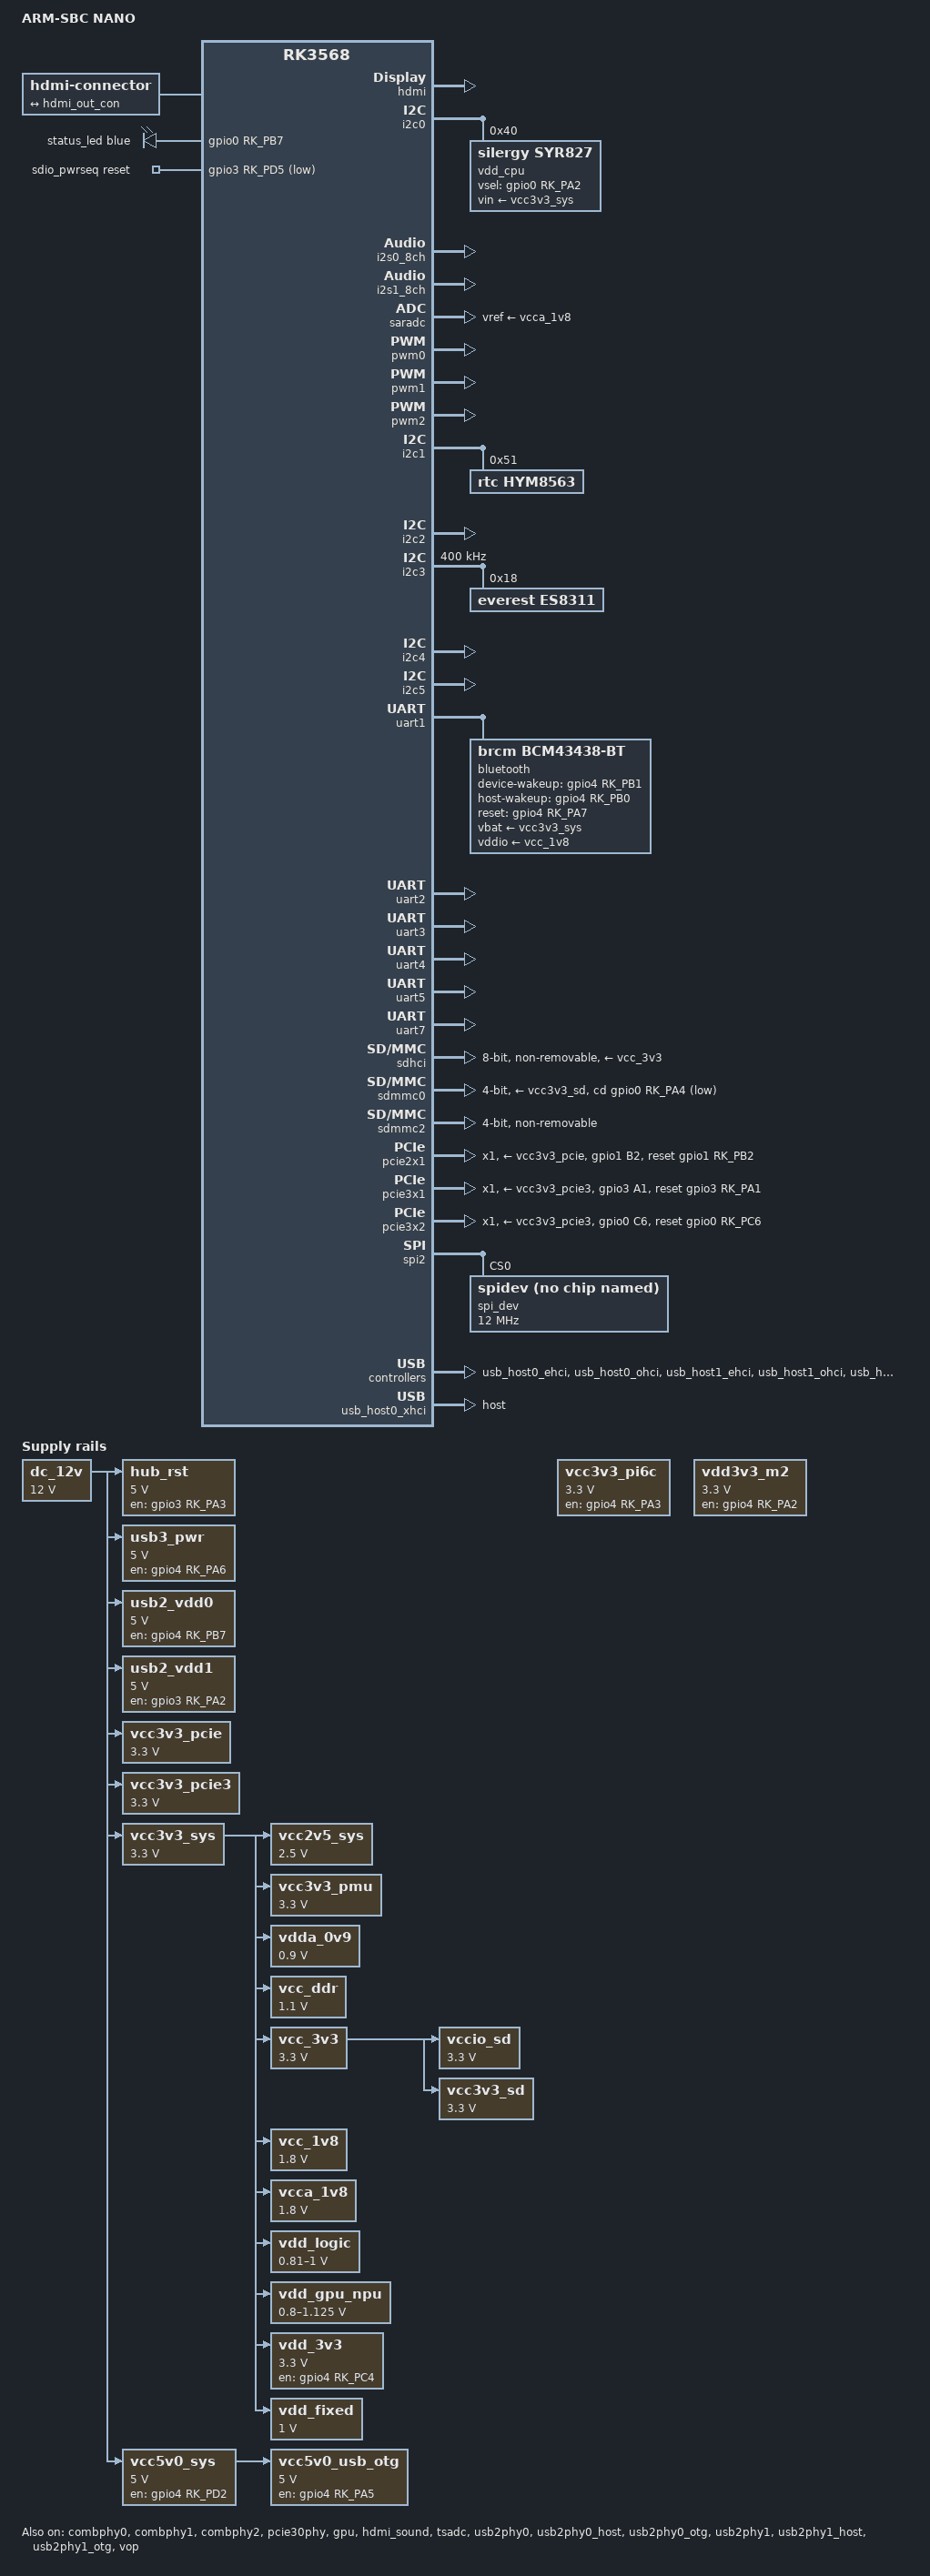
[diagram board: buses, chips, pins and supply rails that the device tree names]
// SPDX-License-Identifier: (GPL-2.0+ OR MIT)
/*
 * Copyright (c) 2024 msubair@hotmail.com
 *
 */

/dts-v1/;
#include <dt-bindings/gpio/gpio.h>
#include <dt-bindings/leds/common.h>
#include <dt-bindings/pinctrl/rockchip.h>
#include <dt-bindings/soc/rockchip,vop2.h>
#include "rk3568.dtsi"

/ {
		model = "ARM-SBC NANO";
		compatible = "rockchip,rk3568-nano", "rockchip,rk3568";

		aliases {
			ethernet0 = &pcie2x1;
			ethernet1 = &pcie3x1;
			mmc0 = &sdhci;
			mmc1 = &sdmmc0;
		};

		chosen {
			stdout-path = "serial2:1500000n8";
		};


		hdmi-con {
			compatible = "hdmi-connector";
			type = "a";

			port {
				hdmi_con_in: endpoint {
					remote-endpoint = <&hdmi_out_con>;
				};
			};
		};
	
		i2s1_sound: i2s1-sound {
		    	status = "okay";
		    	compatible = "simple-audio-card";
		    	simple-audio-card,format = "i2s";
		    	simple-audio-card,mclk-fs = <256>;
		    	simple-audio-card,name = "rockchip,es8311";
		    	simple-audio-card,cpu {
		            	sound-dai = <&i2s1_8ch>;
		    	};
		    	simple-audio-card,codec {
		            	sound-dai = <&es8311>;
		    	};
			};    
	
		gpio-leds {
				compatible = "gpio-leds";
				pinctrl-names = "default";
				pinctrl-0 = <&led_pin>;

				status_led: led-status {
					color = <LED_COLOR_ID_BLUE>;
					function = LED_FUNCTION_STATUS;
					gpios = <&gpio0 RK_PB7 GPIO_ACTIVE_HIGH>;
					linux,default-trigger = "heartbeat";
				};
			};

		dc_12v: dc-12v-regulator {
				compatible = "regulator-fixed";
				regulator-name = "dc_12v";
				regulator-always-on;
				regulator-boot-on;
				regulator-min-microvolt = <12000000>;
				regulator-max-microvolt = <12000000>;
			};
	
		hub_rst: hub-reset { 
				compatible = "regulator-fixed";
				regulator-name = "hub_rst";
				regulator-always-on;
				regulator-boot-on;
				enable-active-high;
				gpio = <&gpio3 RK_PA3 GPIO_ACTIVE_HIGH>;
				pinctrl-0 = <&hub_reset_pin>;
				regulator-min-microvolt = <5000000>;
				regulator-max-microvolt = <5000000>;
				vin-supply = <&dc_12v>;   
		            };

        usb3_pwr: usb3-pwr { 
                compatible = "regulator-fixed";
				regulator-name = "usb3_pwr";
				regulator-always-on;
				regulator-boot-on;
				enable-active-high;
				gpio = <&gpio4 RK_PA6 GPIO_ACTIVE_HIGH>;
				pinctrl-0 = <&usb3_power_en>;
				regulator-min-microvolt = <5000000>;
				regulator-max-microvolt = <5000000>;
				vin-supply = <&dc_12v>; 	    
                };
                
        usb2_vdd0: usb2-pwr {  
                compatible = "regulator-fixed";
				regulator-name = "usb2_vdd0";
				regulator-always-on;
				regulator-boot-on;
				enable-active-high;
				gpio = <&gpio4 RK_PB7 GPIO_ACTIVE_HIGH>;
				pinctrl-0 = <&usb2_vdd0_en>;
				regulator-min-microvolt = <5000000>;
				regulator-max-microvolt = <5000000>;
				vin-supply = <&dc_12v>;     
                };
                
        usb2_vdd1: usb2-vdd1 {       
		    	compatible = "regulator-fixed";
				regulator-name = "usb2_vdd1";
				regulator-always-on;
				regulator-boot-on;
				enable-active-high;
				gpio = <&gpio3 RK_PA2 GPIO_ACTIVE_HIGH>;
				pinctrl-0 = <&usb2_vdd1_en>;
				regulator-min-microvolt = <5000000>;
				regulator-max-microvolt = <5000000>;
				vin-supply = <&dc_12v>; 
		   		};
	
		sdio_pwrseq: sdio-pwrseq {
				status = "okay";
				compatible = "mmc-pwrseq-simple";
				//clocks = <&rk809 1>;
				clock-names = "ext_clock";
				pinctrl-names = "default";
				pinctrl-0 = <&wifi_enable_h>;
				reset-gpios = <&gpio3 RK_PD5 GPIO_ACTIVE_LOW>;
				post-power-on-delay-ms = <100>;
				power-off-delay-us = <5000000>;
			};
	
		vcc2v5_sys: vcc2v5-ddr {
		    	compatible = "regulator-fixed";
		    	regulator-name = "vcc2v5-sys";
		    	regulator-always-on;
		    	regulator-boot-on;
		    	regulator-min-microvolt = <2500000>;
		    	regulator-max-microvolt = <2500000>;
		    	vin-supply = <&vcc3v3_sys>;
			};

		vcc3v3_pcie: vcc3v3-pcie-regulator {
				compatible = "regulator-fixed";
				regulator-name = "vcc3v3_pcie";
				enable-active-high;
				pinctrl-names = "default";
				regulator-min-microvolt = <3300000>;
				regulator-max-microvolt = <3300000>;
				startup-delay-us = <5000>;
				vin-supply = <&dc_12v>;
			};
	
		vcc3v3_pcie3: gpio-regulator-pcie3 {
		    	compatible = "regulator-fixed";
		    	regulator-name = "vcc3v3_pcie3";
		    	regulator-min-microvolt = <3300000>;
		    	regulator-max-microvolt = <3300000>;
		    	enable-active-high;
		    	startup-delay-us = <5000>;
		    	vin-supply = <&dc_12v>;
			};
	
		vcc3v3_pi6c: vcc3v3_pi6c { //pcie3 clk enable for m.2
                compatible = "regulator-fixed";
                regulator-name = "vcc3v3_pi6c";
                regulator-always-on;
                regulator-boot-on;
                regulator-min-microvolt = <3300000>;
                regulator-max-microvolt = <3300000>;
                enable-active-high;
                gpios = <&gpio4 RK_PA3 GPIO_ACTIVE_HIGH>;
                pinctrl-names = "default";
                pinctrl-0 = <&pcie_clk_control>;
        };

    	vdd3v3_m2: vdd3v3_m2 {   //m.2 power enable
                compatible = "regulator-fixed";
                regulator-name = "vdd3v3_m2";
                regulator-always-on;
                regulator-boot-on;
                regulator-min-microvolt = <3300000>;
                regulator-max-microvolt = <3300000>;
                enable-active-high;
                gpios = <&gpio4 RK_PA2 GPIO_ACTIVE_HIGH>;
                pinctrl-names = "default";
                pinctrl-0 = <&vdd_m2_control>;
        };
	
		vcc3v3_sys: vcc3v3-sys-regulator {
				compatible = "regulator-fixed";
				regulator-name = "vcc3v3_sys";
				regulator-always-on;
				regulator-boot-on;
				regulator-min-microvolt = <3300000>;
				regulator-max-microvolt = <3300000>;
				vin-supply = <&dc_12v>;
			};

		vcc5v0_sys: vcc5v0-sys-regulator {
				compatible = "regulator-fixed";
				regulator-name = "vcc5v0_sys";
				regulator-always-on;
				regulator-boot-on;
				enable-active-high;
				gpio = <&gpio4 RK_PD2 GPIO_ACTIVE_HIGH>;
				regulator-min-microvolt = <5000000>;
				regulator-max-microvolt = <5000000>;
				vin-supply = <&dc_12v>;
			};

		vcc5v0_usb_otg: vcc5v0-usb-otg-regulator {
				compatible = "regulator-fixed";
				regulator-name = "vcc5v0_usb_otg";
				enable-active-high;
				gpio = <&gpio4 RK_PA5 GPIO_ACTIVE_HIGH>;
				pinctrl-names = "default";
				pinctrl-0 = <&otg_power_en>;
				regulator-min-microvolt = <5000000>;
				regulator-max-microvolt = <5000000>;
				vin-supply = <&vcc5v0_sys>;
			};
	
		vcc3v3_pmu: vcc3v3-pmu {
		    	compatible = "regulator-fixed";
		    	regulator-name = "vcc3v3_pmu";
		    	regulator-always-on;
		    	regulator-boot-on;
		    	regulator-min-microvolt = <3300000>;
		    	regulator-max-microvolt = <3300000>;
		    	vin-supply = <&vcc3v3_sys>;
		    	regulator-state-mem {
		        	regulator-on-in-suspend;
		    	};
			};

    	vdda_0v9: vdda-0v9 {
		    	compatible = "regulator-fixed";
		    	regulator-name = "vdda_0v9";
		    	regulator-always-on;
		    	regulator-boot-on;
		    	regulator-min-microvolt = <900000>;
		    	regulator-max-microvolt = <900000>;
		    	vin-supply = <&vcc3v3_sys>;
		    	regulator-state-mem {
		        	regulator-off-in-suspend;
		    	};
			};

    	vcc_ddr: vcc-ddr {
		    	compatible = "regulator-fixed";
		    	regulator-name = "vcc_ddr";
		    	regulator-always-on;
		    	regulator-boot-on;
		    	regulator-min-microvolt = <1100000>;
		    	regulator-max-microvolt = <1100000>;
		    	vin-supply = <&vcc3v3_sys>;
		    	regulator-state-mem {
		        	regulator-on-in-suspend;
		    	};
			};

    	vcc_3v3: vcc-3v3 {
		    	compatible = "regulator-fixed";
		    	regulator-name = "vcc_3v3";
		    	regulator-always-on;
		    	regulator-boot-on;
		    	regulator-min-microvolt = <3300000>;
		    	regulator-max-microvolt = <3300000>;
		    	vin-supply = <&vcc3v3_sys>;
		    	regulator-state-mem {
		        	regulator-off-in-suspend;
		    	};
			};

    	vccio_sd: vccio-sd {
		    	compatible = "regulator-fixed";
		    	regulator-name = "vccio_sd";
		    	regulator-always-on;
		    	regulator-boot-on;
		    	regulator-min-microvolt = <3300000>;
		    	regulator-max-microvolt = <3300000>;
		    	vin-supply = <&vcc_3v3>;
		    	regulator-state-mem {
		        	regulator-off-in-suspend;
		    	};
			};

    	vcc3v3_sd: vcc3v3-sd {
		    	compatible = "regulator-fixed";
		    	regulator-name = "vcc3v3_sd";
		    	regulator-always-on;
		    	regulator-boot-on;
		    	regulator-min-microvolt = <3300000>;
		    	regulator-max-microvolt = <3300000>;
		    	vin-supply = <&vcc_3v3>;
		    	regulator-state-mem {
		        	regulator-off-in-suspend;
		    	};
			};

    	vcc_1v8: vcc-1v8 {
		    	compatible = "regulator-fixed";
		    	regulator-name = "vcc_1v8";
		    	regulator-always-on;
		    	regulator-boot-on;
		    	regulator-min-microvolt = <1800000>;
		    	regulator-max-microvolt = <1800000>;
		    	vin-supply = <&vcc3v3_sys>;
		    	regulator-state-mem {
		        	regulator-off-in-suspend;
		    	};
			};

    	vcca_1v8: vcca-1v8 {
		    	compatible = "regulator-fixed";
		    	regulator-name = "vcca_1v8";
		    	regulator-always-on;
		    	regulator-boot-on;
		    	regulator-min-microvolt = <1800000>;
		    	regulator-max-microvolt = <1800000>;
		    	vin-supply = <&vcc3v3_sys>;
		    	regulator-state-mem {
		        	regulator-off-in-suspend;
		    	};
			};

    	vdd_logic: vdd-logic {
		    	compatible = "pwm-regulator";
		    	regulator-always-on;
		    	regulator-boot-on;
		    	rockchip,pwm_id = <1>;
		    	pwms = <&pwm1 0 25000 1>;
		    	regulator-min-microvolt = <810000>;
		    	regulator-max-microvolt = <1000000>;
		    	regulator-init-microvolt = <950000>;
		    	regulator-ramp-delay = <6001>;
		    	regulator-initial-mode = <0x2>;
		    	regulator-name = "vdd_logic";
		    	pwm-supply = <&vcc3v3_sys>;
		    	regulator-state-mem {
		        	regulator-off-in-suspend;
		    	};
			};

    	vdd_gpu_npu: vdd-gpu-npu {
		    	compatible = "pwm-regulator";
		    	rockchip,pwm_id = <2>;
		    	pwms = <&pwm2 0 25000 1>;
		    	regulator-min-microvolt = <800000>;
		    	regulator-max-microvolt = <1125000>;
		    	regulator-init-microvolt = <1000000>;
		    	regulator-always-on;
		    	regulator-boot-on;
		    	regulator-name = "vdd_gpu_npu";
		    	pwm-supply = <&vcc3v3_sys>;
		    	regulator-state-mem {
		        	regulator-off-in-suspend;
		    	};
			};

    	vdd_3v3: vdd-3v3 {
		    	compatible = "regulator-fixed";
		    	regulator-name = "vdd_3v3";
		    	regulator-boot-on;
		    	regulator-always-on;
		    	regulator-min-microvolt = <3300000>;
		    	regulator-max-microvolt = <3300000>;
		        pinctrl-0 = <&vdd3v3_pin>;
		        enable-active-high;
		        pinctrl-names = "default";
				gpio = <&gpio4 RK_PC4 GPIO_ACTIVE_HIGH>;
		    	vin-supply = <&vcc3v3_sys>;
			};
        
    	vdd_fixed: vdd-fixed {
		    	compatible = "regulator-fixed";
		    	regulator-name = "vdd_fixed";
		    	regulator-min-microvolt = <1000000>;
		    	regulator-max-microvolt = <1000000>;
		    	regulator-always-on;
		    	regulator-boot-on;
		    	vin-supply = <&vcc3v3_sys>;
			};
};

&combphy0 {
	/* Used for USB3 */
	//phy-supply = <&vcc5v0_usb_host>;
	status = "okay";
};

&combphy1 {
	/* Used for USB3 */
	status = "okay";
};

&combphy2 {
	/* used for SATA */
	status = "okay";
};

&pcie30phy {
	data-lanes = <1 2>;
	status = "okay";
};

&cpu0 {
	cpu-supply = <&vdd_cpu>;
};

&cpu1 {
	cpu-supply = <&vdd_cpu>;
};

&cpu2 {
	cpu-supply = <&vdd_cpu>;
};

&cpu3 {
	cpu-supply = <&vdd_cpu>;
};

&gpu {
    mali-supply = <&vdd_fixed>;
    status = "okay";
};

&hdmi {
	avdd-0v9-supply = <&vdda_0v9>;
	avdd-1v8-supply = <&vcca_1v8>;
	status = "okay";
};

&hdmi_in {
	hdmi_in_vp0: endpoint {
		remote-endpoint = <&vp0_out_hdmi>;
	};
};

&hdmi_out {
	hdmi_out_con: endpoint {
		remote-endpoint = <&hdmi_con_in>;
	};
};

&hdmi_sound {
	status = "okay";
};

&i2c0 {
    status = "okay";
    
    vdd_cpu: syr837@40 {
                compatible = "silergy,syr827";
                reg = <0x40>;
                vin-supply = <&vcc3v3_sys>;
                regulator-compatible = "fan53555-reg";
				pinctrl-0 = <&vsel1_gpio>;
    			vsel-gpios = <&gpio0 RK_PA2 GPIO_ACTIVE_HIGH>;
                regulator-name = "vdd_cpu";
                regulator-min-microvolt = <712500>;
                regulator-max-microvolt = <1390000>;
                regulator-ramp-delay = <2300>;
                fcs,suspend-voltage-selector = <1>;
                regulator-always-on;
                regulator-boot-on;
                regulator-initial-state = <3>;
                regulator-state-mem {
                        regulator-off-in-suspend;
                };
        }; 
};

&i2s0_8ch {
	status = "okay";
};

&i2s1_8ch {
	rockchip,trcm-sync-tx-only;
	status = "okay";
};

&pinctrl {

	sdio-pwrseq {
			wifi_enable_h: wifi-enable-h {
				rockchip,pins = <3 RK_PD5 RK_FUNC_GPIO &pcfg_pull_none>;
				};
			};
	pcie3_control{
                pcie_clk_control: pcie_clk_control {
                        rockchip,pins = <4 RK_PA3 RK_FUNC_GPIO &pcfg_pull_up>;
                };
                
                vdd_m2_control: vdd_m2_control {
                        rockchip,pins = <4 RK_PA2 RK_FUNC_GPIO &pcfg_pull_up>;
                };
                
                pcie2_reset: pcie2-reset {
                	rockchip,pins = <1 RK_PB2 RK_FUNC_GPIO &pcfg_pull_up>;
                };
                	
                pcie31_reset: pcie31-reset {
                	rockchip,pins = <3 RK_PA1 RK_FUNC_GPIO &pcfg_pull_up>;
                };
                	
                pcie32_reset: pcie32-reset {
                	rockchip,pins = <0 RK_PC6 RK_FUNC_GPIO &pcfg_pull_up>;
                	};
        }; 
	
	power {
  		vdd3v3_pin: vdd3v3-pin {
            		rockchip,pins = <4 RK_PC4 RK_FUNC_GPIO &pcfg_pull_up>;
            	};
        
        	vcc5v0_pin: vcc5v0-pin {
            		rockchip,pins = <4 RK_PD2 RK_FUNC_GPIO &pcfg_pull_up>;
        	};
        	
        	led_pin:led-pin {
            		rockchip,pins = <0 RK_PB7 RK_FUNC_GPIO &pcfg_pull_none>;
            	};
        };   

	pmic {
		vsel1_gpio: vsel1-gpio {
			rockchip,pins = <0 RK_PA2 RK_FUNC_GPIO &pcfg_pull_up>;
		};
	};

	sdcard {
		vcc_sd_pin: vcc-sd-pin {
			rockchip,pins = <0 RK_PA5 RK_FUNC_GPIO &pcfg_pull_down>;
		};
	};
	
	wireless-bluetooth {

		bt_reset_gpio: bt-reset-gpio {
			rockchip,pins = <4 RK_PA7 RK_FUNC_GPIO &pcfg_pull_none>;
		};

		bt_wake_gpio: bt-wake-gpio {
			rockchip,pins = <4 RK_PB0 RK_FUNC_GPIO &pcfg_pull_none>;
		};

		bt_irq_gpio: bt-irq-gpio {
			rockchip,pins = <4 RK_PB1 RK_FUNC_GPIO &pcfg_pull_none>;
		};
	};
	
	rtl8111 {
                rtl8111hs_isolate: rtl8111hs-isolate {
                        rockchip,pins = <4 RK_PA0 RK_FUNC_GPIO &pcfg_pull_up>;
                };
                
                rtl8111_isolate: rtl8111-isolate {
                        rockchip,pins = <4 RK_PA1 RK_FUNC_GPIO &pcfg_pull_up>;
                };
        };
                       
    usb_pins {
                otg_power_en: otg-pwr-ena {
                	rockchip,pins =	<4 RK_PA5 RK_FUNC_GPIO &pcfg_pull_none>;
                };
                	
                hub_reset_pin: hub-reset-pins {
                	rockchip,pins = <3 RK_PA3 RK_FUNC_GPIO &pcfg_pull_none>;
                };
                	
                usb3_power_en: usb3-pwr-en {
                	rockchip,pins = <4 RK_PA6 RK_FUNC_GPIO &pcfg_pull_none>;
                };
                	
                usb2_vdd0_en: usb2-vdd0-en {
                	rockchip,pins = <4 RK_PB7 RK_FUNC_GPIO &pcfg_pull_none>;
                };
                	
        	usb2_vdd1_en: usb2-vdd1-en {
                	rockchip,pins = <3 RK_PA2 RK_FUNC_GPIO &pcfg_pull_none>;
                };
       };
};

&pmu_io_domains {
        status = "okay";
        pmuio2-supply = <&vcc3v3_pmu>;
        vccio1-supply = <&vcc_3v3>;
        vccio3-supply = <&vcc_3v3>;
        vccio4-supply = <&vcc_3v3>;
        vccio5-supply = <&vcc_3v3>;
        vccio6-supply = <&vcc_1v8>;
        vccio7-supply = <&vcc_3v3>;
};

&saradc {
	vref-supply = <&vcca_1v8>;
	status = "okay";
};

&pwm0 {
        status = "okay";
        pinctrl-names = "active";
};

&pwm1 {
        status = "okay";
        pinctrl-names = "active";
    		pinctrl-0 = <&pwm1m0_pins>;
};


&pwm2 {
    status = "okay";
    pinctrl-names = "active";
    pinctrl-0 = <&pwm2m0_pins>;
};

&i2c1 {
    status = "okay";
        rtc@51 {
                status = "okay";
                compatible = "rtc,hym8563";
                reg = <0x51>;
        };
};

&i2c2 {
    status = "okay";
    pinctrl-names = "default";
    pinctrl-0 = <&i2c2m1_xfer>;
};

&i2c3 {
    status = "okay";
    clock-frequency = <400000>;
        
    es8311: es8311@18 {
            status = "okay";
            compatible = "everest,es8311";
            reg = <0x18>;
            assigned-clocks = <&cru I2S1_MCLKOUT_TX>;
            assigned-clock-parents = <&cru CLK_I2S1_8CH_TX>;
            assigned-clock-rates = <12288000>;
	    	clocks = <&cru I2S1_MCLKOUT_TX>;
	    	clock-names = "mclk";
            pinctrl-names = "default";
            pinctrl-0 = <&i2s1m0_mclk>;
            #sound-dai-cells = <0>;
    };
};

&i2c4 {
    status = "okay";
    pinctrl-names = "default";
      pinctrl-0 = <&i2c4m0_xfer>;
};

&i2c5 {
    status = "okay";
    pinctrl-names = "default";
      pinctrl-0 = <&i2c5m0_xfer>;    
};

&uart1 {
    status = "okay";
    pinctrl-names = "default";
    uart-has-rtscts;
    pinctrl-0 = <&uart1m1_xfer>, <&uart1m1_ctsn>, <&uart1m1_rtsn>;
    
    bluetooth {
	compatible = "brcm,bcm43438-bt";
	clock-names = "lpo";
	device-wakeup-gpios = <&gpio4 RK_PB1 GPIO_ACTIVE_HIGH>;
	host-wakeup-gpios = <&gpio4 RK_PB0 GPIO_ACTIVE_HIGH>;
	reset-gpios = <&gpio4 RK_PA7 GPIO_ACTIVE_HIGH>;
	pinctrl-names = "default";
	pinctrl-0 = <&bt_reset_gpio>, <&bt_wake_gpio> ,<&bt_irq_gpio>;
	vbat-supply = <&vcc3v3_sys>;
	vddio-supply = <&vcc_1v8>;
	};
};

&uart2 {
	status = "okay";
};

&uart3 {
    status = "okay";
    pinctrl-names = "default";
    pinctrl-0 = <&uart3m1_xfer>;
};

&uart4 {
    status = "okay";
    pinctrl-names = "default";
    pinctrl-0 = <&uart4m0_xfer>;
};

&uart5 {
    status = "okay";
    pinctrl-names = "default";
    pinctrl-0 = <&uart5m1_xfer>;
};

&uart7 {
    status = "okay";
    pinctrl-names = "default";
    pinctrl-0 = <&uart7m1_xfer>;
};

&sdhci {
	bus-width = <8>;
	max-frequency = <200000000>;
	non-removable;
	pinctrl-names = "default";
	pinctrl-0 = <&emmc_bus8 &emmc_clk &emmc_cmd &emmc_datastrobe &emmc_rstnout>;
	vmmc-supply = <&vcc_3v3>;
	vqmmc-supply = <&vcc_1v8>;
	status = "okay";
};

&sdmmc0 {
	bus-width = <4>;
	cap-sd-highspeed;
	cd-gpios = <&gpio0 RK_PA4 GPIO_ACTIVE_LOW>;
	disable-wp;
	pinctrl-names = "default";
	pinctrl-0 = <&sdmmc0_bus4 &sdmmc0_clk &sdmmc0_cmd &sdmmc0_det>;
	pinctrl-1 = <&vcc_sd_pin>;
	sd-uhs-sdr50;
	sd-uhs-sdr104;
	vmmc-supply = <&vcc3v3_sd>;
	vqmmc-supply = <&vccio_sd>;
	status = "okay";
};

&sdmmc2 {
   	max-frequency = <150000000>;
    	supports-sdio;
    	bus-width = <4>;
    	disable-wp;
    	cap-sd-highspeed;
    	cap-sdio-irq;
    	keep-power-in-suspend;
    	mmc-pwrseq = <&sdio_pwrseq>;
    	non-removable;
    	pinctrl-names = "default";
    	pinctrl-0 = <&sdmmc2m0_bus4 &sdmmc2m0_cmd &sdmmc2m0_clk>;
    	sd-uhs-sdr104;
    	status = "okay";
};

/******* pcie2x1x1 -rtl8111hs*****/
&pcie2x1 {
    status = "okay";
    num-lanes = <1>;
    pinctrl-0 = <&pcie2_reset>;
    vpcie3v3-supply = <&vcc3v3_pcie>;
    reset-gpios = <&gpio1 RK_PB2 GPIO_ACTIVE_HIGH>;
};

/******* pcie3x1x1 -rtl8111hs*****/
&pcie3x1 {
    status = "okay";
    num-lanes = <1>;
    pinctrl-0 = <&pcie31_reset>;
    vpcie3v3-supply = <&vcc3v3_pcie3>;
    reset-gpios = <&gpio3 RK_PA1 GPIO_ACTIVE_HIGH>;
};

/******* pcie3x2x1 -m.2*****/
&pcie3x2 {
    status = "okay";
    rockchip,bifurcation;
    num-lanes = <1>;
    pinctrl-0 = <&pcie32_reset>;
    vpcie3v3-supply = <&vcc3v3_pcie3>;
    reset-gpios = <&gpio0 RK_PC6 GPIO_ACTIVE_HIGH>;
};

&spi2 {
    status = "okay";
    pinctrl-0 = <&spi2m1_cs0 &spi2m1_pins>;
    pinctrl-1 = <&spi2m1_cs0 &spi2m1_pins_hs>;

    spi_dev@0 {
        compatible = "rockchip,spidev";
        reg = <0>;
        spi-max-frequency = <12000000>;
        spi-lsb-first;
    };
};

&tsadc {
	rockchip,hw-tshut-mode = <1>;
	rockchip,hw-tshut-polarity = <0>;
	status = "okay";
};

&usb_host0_ehci {
	status = "okay";
};

&usb_host0_ohci {
	status = "okay";
};

&usb_host0_xhci {
	dr_mode = "host";
	status = "okay";
};

&usb_host1_ehci {
	status = "okay";
};

&usb_host1_ohci {
	status = "okay";
};

&usb_host1_xhci {
	status = "okay";
};

&usb2phy0 {
	status = "okay";
};

&usb2phy0_host {
	status = "okay";
	//phy-supply = <&vcc5v0_usb_host>;
};

&usb2phy0_otg {
	status = "okay";
	phy-supply = <&vcc5v0_usb_otg>;
};

&usb2phy1 {
	status = "okay";
};

&usb2phy1_host {
	status = "okay";
	//phy-supply = <&vcc5v0_usb_host>;
};

&usb2phy1_otg {
	status = "okay";
};

&vop {
	assigned-clocks = <&cru DCLK_VOP0>, <&cru DCLK_VOP1>;
	assigned-clock-parents = <&pmucru PLL_HPLL>, <&cru PLL_VPLL>;
	status = "okay";
};

&vop_mmu {
	status = "okay";
};

&vp0 {
	vp0_out_hdmi: endpoint@ROCKCHIP_VOP2_EP_HDMI0 {
		reg = <ROCKCHIP_VOP2_EP_HDMI0>;
		remote-endpoint = <&hdmi_in_vp0>;
	};
};
